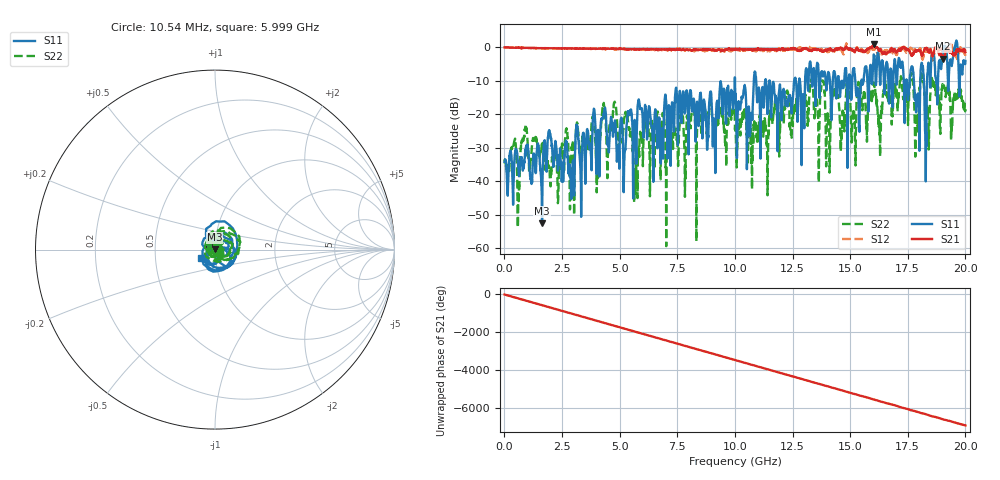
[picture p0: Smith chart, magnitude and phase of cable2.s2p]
! S Parameters saved at 10:42:14 06/22/07
# HZ DB S R 50
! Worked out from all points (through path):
!   1897 points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, 10.54 MHz to 20 GHz, reference 50 ohm
!   highest |S21| = 0.91 dB at 16.04 GHz (marker M1); lowest = -3.4 dB at 19.04 GHz (marker M2)
!   group delay of S21, straight-line fit = 960 ps
!   lowest |S11| = -52.6 dB at 1.634 GHz (marker M3), VSWR 1.00, Z = 49.9 + j0.214 ohm
!   |S11| at or under -10 dB: start of sweep to 9.993 GHz; 10.01 GHz to 10.82 GHz (814.5 MHz wide, 7.82 % of centre); 11.5 GHz to 12.57 GHz (1.071 GHz wide, 8.9 % of centre)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
!   |S22| runs from -59.3 to -7.7 dB; largest |S21 - S12| = 0.37
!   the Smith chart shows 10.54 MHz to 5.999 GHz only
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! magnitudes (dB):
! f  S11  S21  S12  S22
! 10.54 MHz  -34.2  -0.1  0.0  -34.7
! 1.634 GHz  -52.6  -0.3  -0.3  -28.8
! 1.972 GHz  -25.9  -0.3  -0.4  -38.8
! 3.342 GHz  -41.7  -0.4  -0.5  -30.2
! 4.797 GHz  -21.9  -0.4  -0.7  -16.7
! 5.324 GHz  -21.4  -0.6  -0.7  -20.9
! 5.704 GHz  -28.4  -0.7  -0.7  -39.5
! 6.674 GHz  -23.2  -0.7  -1.0  -19.9
! 10.01 GHz  -9.1  -0.6  -0.8  -24.6
! 12.95 GHz  -14.2  -0.7  -0.5  -19.7
! 13.34 GHz  -10.5  -1.2  -0.2  -10.1
! 13.81 GHz  -8.7  -1.3  -1.1  -10.2
! 14.04 GHz  -7.5  -0.7  -1.3  -20.1
! 14.3 GHz  -7.4  -1.2  -1.6  -13.7
! 14.67 GHz  -10.6  -0.7  -1.1  -20.3
! 14.91 GHz  -16.5  -0.7  -0.4  -10.0
! 15.15 GHz  -6.3  -1.2  -1.8  -19.8
! 16.04 GHz  -2.4  0.9  -0.1  -10.7
! 16.67 GHz  -12.5  -1.4  -0.7  -15.2
! 18.27 GHz  -25.5  -0.3  -1.1  -19.6
! 19.04 GHz  -0.6  -3.4  -2.4  -11.6
! 20 GHz  -4.1  -1.5  -2.6  -18.4
